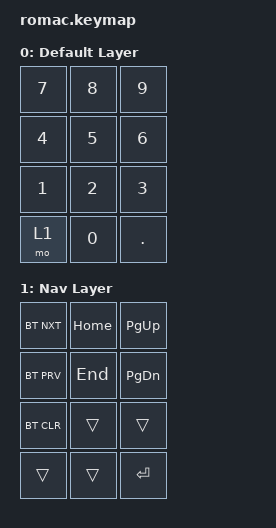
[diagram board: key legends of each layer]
/*
 * Copyright (c) 2020 The ZMK Contributors
 *
 * SPDX-License-Identifier: MIT
 */

#include <behaviors.dtsi>
#include <dt-bindings/zmk/keys.h>
#include <dt-bindings/zmk/bt.h>

/ {
    keymap {
        compatible = "zmk,keymap";

        default_layer {
            display-name = "Default Layer";
            // -------------------
            // | 7      |  8  |  9  |
            // | 4      |  5  |  6  |
            // | 1      |  2  |  3  |
            // | MO(1)  |  0  |  .  |
            // ----------------------
            bindings = <&kp N7 &kp N8 &kp N9
                        &kp N4 &kp N5 &kp N6
                        &kp N1 &kp N2 &kp N3
                        &mo 1 &kp N0 &kp DOT>;
        };

        nav_layer {
            display-name = "Nav Layer";
            // -----------------------
            // | BTNXT |  HOME  |  PGUP  |
            // | BTPRV |  END   |  PGDN  |
            // | BTCLR |  _     |  _     |
            // | _     |  _     |  RET   |
            // -----------------------
            bindings = <&bt BT_NXT &kp HOME &kp PG_UP
                        &bt BT_PRV &kp END &kp PG_DN
                        &bt BT_CLR &trans &trans
                        &trans &trans &kp RET>;
        };
    };
};
